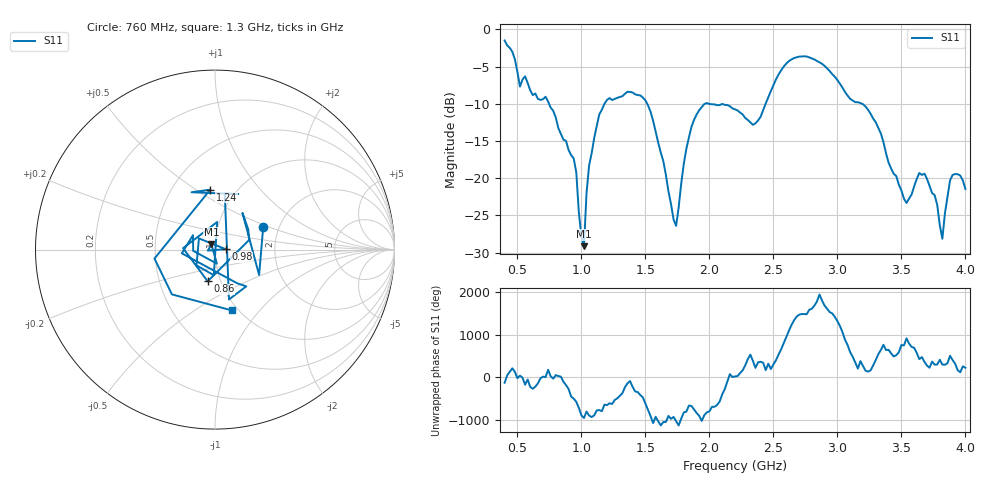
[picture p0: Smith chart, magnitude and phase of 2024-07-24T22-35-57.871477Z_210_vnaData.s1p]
!Created with skrf (http://scikit-rf.org).
# Hz S RI R 50.0
!freq ReS11 ImS11
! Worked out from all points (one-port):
!   181 points, 400 MHz to 4 GHz, reference 50 ohm
!   lowest |S11| = -29.1 dB at 1.02 GHz (marker M1), VSWR 1.07, Z = 48 + j2.76 ohm
!   |S11| at or under -10 dB: 747.1 MHz to 1.18 GHz (433 MHz wide, 44.9 % of centre); 1.514 GHz to 1.966 GHz (452 MHz wide, 26 % of centre); 3.192 GHz to end of sweep (the widest 3 of 4)
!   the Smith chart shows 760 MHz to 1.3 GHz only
!   S11 on the Smith chart (normalised r, x): 760 MHz: 1.65, +0.46; 860 MHz: 0.87, -0.32; 980 MHz: 1.12, +0.01; 1.24 GHz: 0.76, +0.57; 1.3 GHz: 0.94, -0.72
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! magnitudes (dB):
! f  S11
! 400 MHz  -1.5
! 520 MHz  -7.7
! 760 MHz  -10.5
! 860 MHz  -14.8
! 940 MHz  -17.4
! 980 MHz  -24.6
! 1.02 GHz  -29.1
! 1.06 GHz  -18.3
! 1.1 GHz  -14.6
! 1.24 GHz  -9.5
! 1.3 GHz  -9.1
! 1.5 GHz  -9.5
! 1.64 GHz  -17.7
! 1.72 GHz  -25.6
! 1.76 GHz  -23.9
! 1.82 GHz  -16.1
! 1.9 GHz  -11.4
! 2.2 GHz  -10.8
! 2.36 GHz  -12.6
! 2.66 GHz  -3.9
! 3.1 GHz  -9.3
! 3.3 GHz  -12.5
! 3.56 GHz  -22.7
! 3.68 GHz  -19.4
! 3.76 GHz  -22.3
! 3.82 GHz  -28.2
! 3.9 GHz  -19.6
! 4 GHz  -21.5
